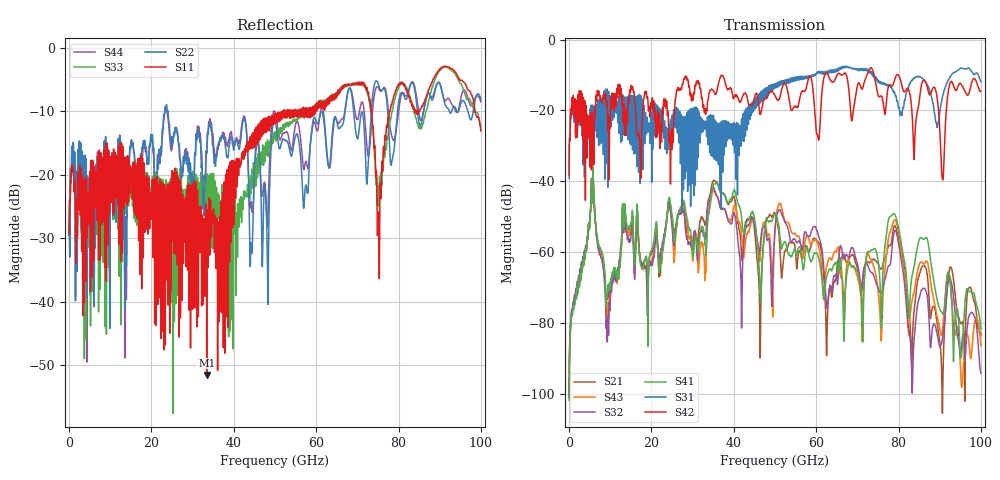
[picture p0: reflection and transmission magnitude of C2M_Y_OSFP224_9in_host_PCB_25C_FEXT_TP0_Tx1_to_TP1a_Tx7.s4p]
# GHz S RI R 45
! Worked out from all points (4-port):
!   4000 points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, 25 MHz to 100 GHz, reference 45 ohm
!   strongest paths, dB at 25 MHz, 25.02 GHz, 50.02 GHz, 75.03 GHz, 100 GHz:
!     S42: -38.2, -30.2, -15.9, -15.6, -14.6
!     S31: -39.2, -21.3, -12.4, -11.9, -11.8
!     S41: -101.8, -49.6, -49.3, -62.2, -81.9
!     S32: -100.2, -52.8, -53.3, -70.2, -94.1
!     S43: -101.0, -52.4, -53.5, -70.8, -86.4
!     S21: -101.1, -49.9, -49.1, -63.2, -83.4
!   lowest |S11| = -51.5 dB at 33.42 GHz (marker M1), VSWR 1.01, Z = 44.8 - j0.00969 ohm
!   |S11| at or under -10 dB: start of sweep to 51.88 GHz; 73.48 GHz to 77.8 GHz (4.319 GHz wide, 5.71 % of centre); 98.59 GHz to end of sweep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
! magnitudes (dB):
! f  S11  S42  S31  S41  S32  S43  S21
! 25 MHz  -29.3  -38.2  -39.2  -101.8  -100.2  -101.0  -101.1
! 5.7 GHz  -18.7  -26.1  -18.9  -43.3  -43.3  -43.2  -43.3
! 9.425 GHz  -31.1  -25.6  -41.7  -69.5  -78.3  -74.8  -70.9
! 13.3 GHz  -25.2  -18.1  -26.8  -52.9  -54.0  -53.5  -53.3
! 33.42 GHz  -51.5  -20.1  -27.3  -55.8  -50.5  -55.2  -49.6
! 78.83 GHz  -7.7  -12.2  -15.0  -49.1  -54.9  -51.3  -53.1
! 100 GHz  -13.1  -14.6  -11.8  -81.9  -94.1  -86.4  -83.4
